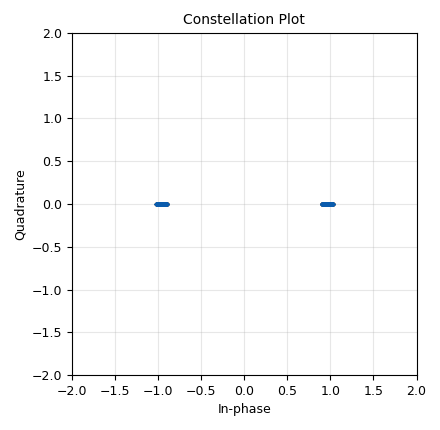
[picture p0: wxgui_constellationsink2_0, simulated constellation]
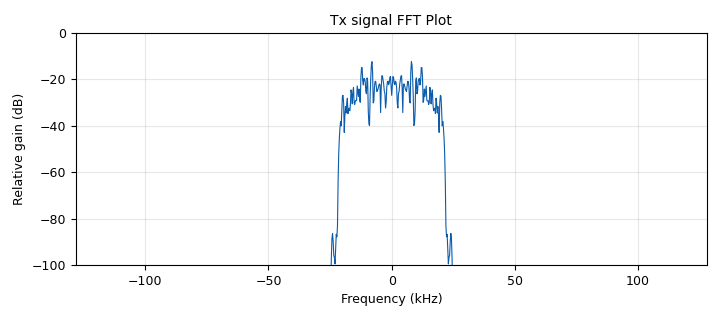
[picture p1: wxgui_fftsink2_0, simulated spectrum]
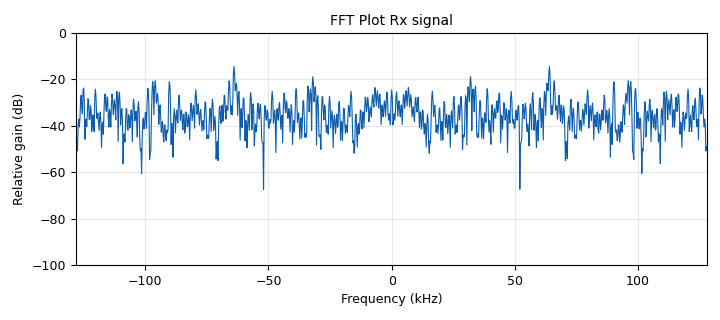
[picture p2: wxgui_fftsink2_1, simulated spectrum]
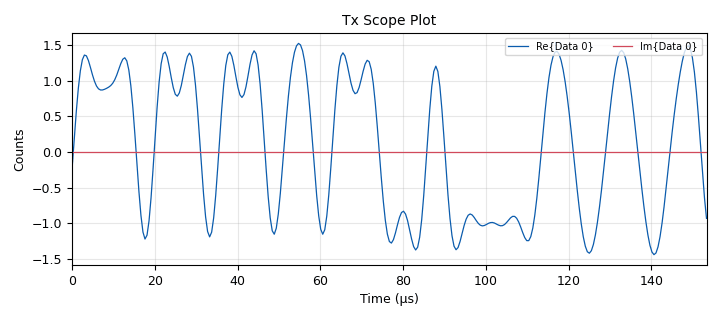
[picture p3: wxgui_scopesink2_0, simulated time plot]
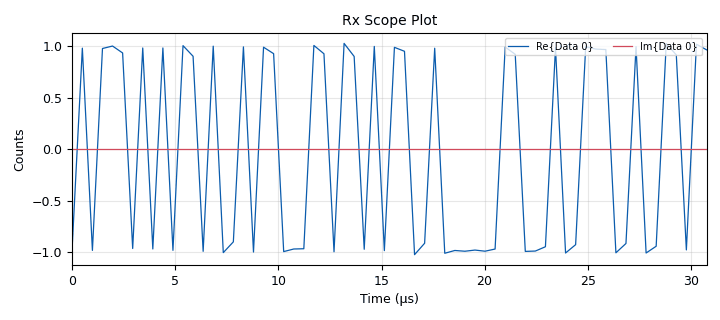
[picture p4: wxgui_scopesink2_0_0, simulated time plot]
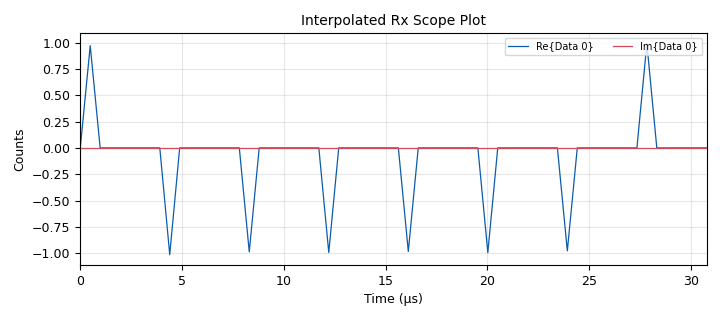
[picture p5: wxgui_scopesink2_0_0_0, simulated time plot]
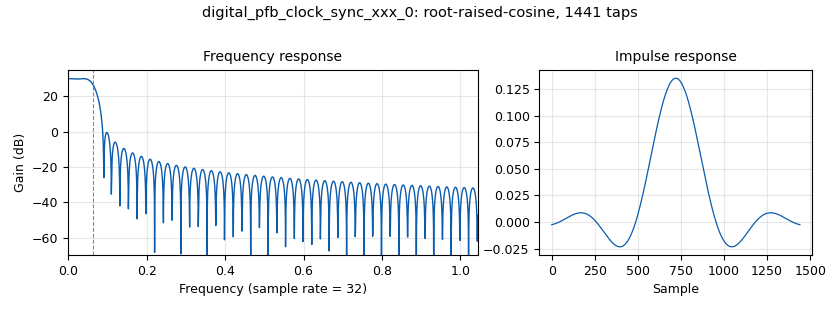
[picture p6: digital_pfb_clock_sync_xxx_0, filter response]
<?xml version='1.0' encoding='utf-8'?>
<?grc format='1' created='3.7.9'?>
<flow_graph>
<block>
<key>options</key>
<param><key>id</key><value>top_block</value></param>
<param><key>category</key><value>Custom</value></param>
<param><key>generate_options</key><value>wx_gui</value></param>
</block>
<block>
<key>variable_slider</key>
<param><key>id</key><value>An</value></param>
<param><key>converver</key><value>float_converter</value></param>
<param><key>value</key><value>0</value></param>
<param><key>label</key><value></value></param>
<param><key>max</key><value>1</value></param>
<param><key>min</key><value>0</value></param>
<param><key>num_steps</key><value>100</value></param>
<param><key>style</key><value>wx.SL_HORIZONTAL</value></param>
</block>
<block>
<key>variable_constellation_rect</key>
<param><key>id</key><value>bpsk_const</value></param>
<param><key>const_points</key><value>[-1,1]</value></param>
<param><key>imag_sect</key><value>2</value></param>
<param><key>real_sect</key><value>2</value></param>
<param><key>rot_sym</key><value>2</value></param>
<param><key>sym_map</key><value>[0, 1]</value></param>
<param><key>w_imag_sect</key><value>1</value></param>
<param><key>w_real_sect</key><value>1</value></param>
</block>
<block>
<key>variable</key>
<param><key>id</key><value>samp_rate</value></param>
<param><key>value</key><value>256000</value></param>
</block>
<block>
<key>variable</key>
<param><key>id</key><value>samples_per_symbol</value></param>
<param><key>value</key><value>8</value></param>
</block>
<block>
<key>analog_noise_source_x</key>
<param><key>id</key><value>analog_noise_source_x_0</value></param>
<param><key>amp</key><value>An</value></param>
<param><key>noise_type</key><value>analog.GR_GAUSSIAN</value></param>
<param><key>type</key><value>complex</value></param>
<param><key>seed</key><value>0</value></param>
</block>
<block>
<key>analog_sig_source_x</key>
<param><key>id</key><value>analog_sig_source_x_0</value></param>
<param><key>amp</key><value>1</value></param>
<param><key>freq</key><value>0</value></param>
<param><key>offset</key><value>0</value></param>
<param><key>type</key><value>complex</value></param>
<param><key>samp_rate</key><value>samp_rate</value></param>
<param><key>waveform</key><value>analog.GR_COS_WAVE</value></param>
</block>
<block>
<key>blocks_add_xx</key>
<param><key>id</key><value>blocks_add_xx_0</value></param>
<param><key>type</key><value>complex</value></param>
</block>
<block>
<key>blocks_delay</key>
<param><key>id</key><value>blocks_delay_0</value></param>
<param><key>delay</key><value>3</value></param>
<param><key>type</key><value>complex</value></param>
</block>
<block>
<key>blocks_delay</key>
<param><key>id</key><value>blocks_delay_0_0</value></param>
<param><key>delay</key><value>7</value></param>
<param><key>type</key><value>byte</value></param>
</block>
<block>
<key>blocks_file_sink</key>
<param><key>id</key><value>blocks_file_sink_0</value></param>
<param><key>file</key><value>/dev/pts/19</value></param>
<param><key>type</key><value>byte</value></param>
</block>
<block>
<key>blocks_multiply_const_vxx</key>
<param><key>id</key><value>blocks_multiply_const_vxx_0</value></param>
<param><key>const</key><value>1</value></param>
<param><key>type</key><value>complex</value></param>
</block>
<block>
<key>blocks_multiply_xx</key>
<param><key>id</key><value>blocks_multiply_xx_0</value></param>
<param><key>type</key><value>complex</value></param>
</block>
<block>
<key>blocks_throttle</key>
<param><key>id</key><value>blocks_throttle_0</value></param>
<param><key>samples_per_second</key><value>samp_rate</value></param>
<param><key>type</key><value>complex</value></param>
</block>
<block>
<key>blocks_unpacked_to_packed_xx</key>
<param><key>id</key><value>blocks_unpacked_to_packed_xx_0</value></param>
<param><key>bits_per_chunk</key><value>1</value></param>
<param><key>endianness</key><value>gr.GR_MSB_FIRST</value></param>
<param><key>type</key><value>byte</value></param>
</block>
<block>
<key>blocks_vector_source_x</key>
<param><key>id</key><value>blocks_vector_source_x_0</value></param>
<param><key>type</key><value>byte</value></param>
<param><key>repeat</key><value>True</value></param>
<param><key>vector</key><value>list(ord(i) for i in 'The quick brown fox 0123456789...')</value></param>
</block>
<block>
<key>digital_constellation_modulator</key>
<param><key>id</key><value>digital_constellation_modulator_0</value></param>
<param><key>constellation</key><value>bpsk_const</value></param>
<param><key>differential</key><value>False</value></param>
<param><key>excess_bw</key><value>0.35</value></param>
<param><key>samples_per_symbol</key><value>samples_per_symbol</value></param>
</block>
<block>
<key>digital_constellation_receiver_cb</key>
<param><key>id</key><value>digital_constellation_receiver_cb_0</value></param>
<param><key>constellation</key><value>bpsk_const</value></param>
<param><key>loop_bw</key><value>0.0625</value></param>
<param><key>fmax</key><value>100</value></param>
<param><key>fmin</key><value>-100</value></param>
<param><key>showports</key><value>True</value></param>
</block>
<block>
<key>digital_pfb_clock_sync_xxx</key>
<param><key>id</key><value>digital_pfb_clock_sync_xxx_0</value></param>
<param><key>filter_size</key><value>32</value></param>
<param><key>init_phase</key><value>16</value></param>
<param><key>loop_bw</key><value>0.06</value></param>
<param><key>max_dev</key><value>1.5</value></param>
<param><key>osps</key><value>1</value></param>
<param><key>sps</key><value>samples_per_symbol</value></param>
<param><key>taps</key><value>firdes.root_raised_cosine(32,32,1.0/float(samples_per_symbol),0.35,45*32)</value></param>
<param><key>type</key><value>ccf</value></param>
</block>
<block>
<key>interp_fir_filter_xxx</key>
<param><key>id</key><value>interp_fir_filter_xxx_0</value></param>
<param><key>interp</key><value>samples_per_symbol</value></param>
<param><key>taps</key><value>1</value></param>
<param><key>type</key><value>ccc</value></param>
</block>
<block>
<key>notebook</key>
<param><key>id</key><value>notebook</value></param>
<param><key>labels</key><value>['Tx signal scope', 'Rx signal scope', 'Interpolated Rx', 'Tx Spectrum', 'Rx Spectrum', 'Rx Constellation']</value></param>
<param><key>style</key><value>wx.NB_TOP</value></param>
</block>
<block>
<key>wxgui_constellationsink2</key>
<param><key>id</key><value>wxgui_constellationsink2_0</value></param>
<param><key>const_size</key><value>2048</value></param>
<param><key>frame_rate</key><value>5</value></param>
<param><key>gain_mu</key><value>0.005</value></param>
<param><key>loop_bw</key><value>6.28/100.0</value></param>
<param><key>M</key><value>2</value></param>
<param><key>fmax</key><value>0.06</value></param>
<param><key>mu</key><value>0.5</value></param>
<param><key>notebook</key><value>notebook, 5</value></param>
<param><key>omega_limit</key><value>0.005</value></param>
<param><key>samp_rate</key><value>samp_rate</value></param>
<param><key>symbol_rate</key><value>samp_rate/4.</value></param>
<param><key>theta</key><value>0</value></param>
<param><key>title</key><value>Constellation Plot</value></param>
</block>
<block>
<key>wxgui_fftsink2</key>
<param><key>id</key><value>wxgui_fftsink2_0</value></param>
<param><key>avg_alpha</key><value>0</value></param>
<param><key>average</key><value>False</value></param>
<param><key>baseband_freq</key><value>0</value></param>
<param><key>fft_size</key><value>1024</value></param>
<param><key>freqvar</key><value>None</value></param>
<param><key>notebook</key><value>notebook, 3</value></param>
<param><key>peak_hold</key><value>False</value></param>
<param><key>ref_level</key><value>0</value></param>
<param><key>ref_scale</key><value>2.0</value></param>
<param><key>fft_rate</key><value>15</value></param>
<param><key>samp_rate</key><value>samp_rate</value></param>
<param><key>title</key><value>Tx signal FFT Plot</value></param>
<param><key>type</key><value>complex</value></param>
<param><key>win</key><value>None</value></param>
<param><key>y_divs</key><value>10</value></param>
<param><key>y_per_div</key><value>10</value></param>
</block>
<block>
<key>wxgui_fftsink2</key>
<param><key>id</key><value>wxgui_fftsink2_1</value></param>
<param><key>avg_alpha</key><value>0</value></param>
<param><key>average</key><value>False</value></param>
<param><key>baseband_freq</key><value>0</value></param>
<param><key>fft_size</key><value>1024</value></param>
<param><key>freqvar</key><value>None</value></param>
<param><key>notebook</key><value>notebook, 4</value></param>
<param><key>peak_hold</key><value>False</value></param>
<param><key>ref_level</key><value>0</value></param>
<param><key>ref_scale</key><value>2.0</value></param>
<param><key>fft_rate</key><value>15</value></param>
<param><key>samp_rate</key><value>samp_rate</value></param>
<param><key>title</key><value>FFT Plot Rx signal</value></param>
<param><key>type</key><value>complex</value></param>
<param><key>win</key><value>None</value></param>
<param><key>y_divs</key><value>10</value></param>
<param><key>y_per_div</key><value>10</value></param>
</block>
<block>
<key>wxgui_scopesink2</key>
<param><key>id</key><value>wxgui_scopesink2_0</value></param>
<param><key>ac_couple</key><value>False</value></param>
<param><key>notebook</key><value>notebook, 0</value></param>
<param><key>num_inputs</key><value>1</value></param>
<param><key>samp_rate</key><value>samp_rate*samples_per_symbol</value></param>
<param><key>t_scale</key><value>0</value></param>
<param><key>title</key><value>Tx Scope Plot</value></param>
<param><key>trig_mode</key><value>wxgui.TRIG_MODE_AUTO</value></param>
<param><key>type</key><value>complex</value></param>
<param><key>v_offset</key><value>0</value></param>
<param><key>v_scale</key><value>0</value></param>
<param><key>xy_mode</key><value>False</value></param>
<param><key>y_axis_label</key><value>Counts</value></param>
</block>
<block>
<key>wxgui_scopesink2</key>
<param><key>id</key><value>wxgui_scopesink2_0_0</value></param>
<param><key>ac_couple</key><value>False</value></param>
<param><key>notebook</key><value>notebook,1</value></param>
<param><key>num_inputs</key><value>1</value></param>
<param><key>samp_rate</key><value>samp_rate*samples_per_symbol</value></param>
<param><key>t_scale</key><value>0</value></param>
<param><key>title</key><value>Rx Scope Plot</value></param>
<param><key>trig_mode</key><value>wxgui.TRIG_MODE_AUTO</value></param>
<param><key>type</key><value>complex</value></param>
<param><key>v_offset</key><value>0</value></param>
<param><key>v_scale</key><value>0</value></param>
<param><key>xy_mode</key><value>False</value></param>
<param><key>y_axis_label</key><value>Counts</value></param>
</block>
<block>
<key>wxgui_scopesink2</key>
<param><key>id</key><value>wxgui_scopesink2_0_0_0</value></param>
<param><key>ac_couple</key><value>False</value></param>
<param><key>notebook</key><value>notebook,2</value></param>
<param><key>num_inputs</key><value>1</value></param>
<param><key>samp_rate</key><value>samp_rate*samples_per_symbol</value></param>
<param><key>t_scale</key><value>0</value></param>
<param><key>title</key><value>Interpolated Rx Scope Plot</value></param>
<param><key>trig_mode</key><value>wxgui.TRIG_MODE_AUTO</value></param>
<param><key>type</key><value>complex</value></param>
<param><key>v_offset</key><value>0</value></param>
<param><key>v_scale</key><value>0</value></param>
<param><key>xy_mode</key><value>False</value></param>
<param><key>y_axis_label</key><value>Counts</value></param>
</block>
<connection><source_block_id>analog_noise_source_x_0</source_block_id><sink_block_id>blocks_add_xx_0</sink_block_id><source_key>0</source_key><sink_key>0</sink_key></connection>
<connection><source_block_id>analog_sig_source_x_0</source_block_id><sink_block_id>blocks_multiply_xx_0</sink_block_id><source_key>0</source_key><sink_key>1</sink_key></connection>
<connection><source_block_id>blocks_add_xx_0</source_block_id><sink_block_id>blocks_multiply_xx_0</sink_block_id><source_key>0</source_key><sink_key>0</sink_key></connection>
<connection><source_block_id>blocks_delay_0</source_block_id><sink_block_id>interp_fir_filter_xxx_0</sink_block_id><source_key>0</source_key><sink_key>0</sink_key></connection>
<connection><source_block_id>blocks_delay_0_0</source_block_id><sink_block_id>blocks_unpacked_to_packed_xx_0</sink_block_id><source_key>0</source_key><sink_key>0</sink_key></connection>
<connection><source_block_id>blocks_multiply_const_vxx_0</source_block_id><sink_block_id>digital_pfb_clock_sync_xxx_0</sink_block_id><source_key>0</source_key><sink_key>0</sink_key></connection>
<connection><source_block_id>blocks_multiply_xx_0</source_block_id><sink_block_id>blocks_multiply_const_vxx_0</sink_block_id><source_key>0</source_key><sink_key>0</sink_key></connection>
<connection><source_block_id>blocks_throttle_0</source_block_id><sink_block_id>blocks_add_xx_0</sink_block_id><source_key>0</source_key><sink_key>1</sink_key></connection>
<connection><source_block_id>blocks_throttle_0</source_block_id><sink_block_id>wxgui_fftsink2_0</sink_block_id><source_key>0</source_key><sink_key>0</sink_key></connection>
<connection><source_block_id>blocks_throttle_0</source_block_id><sink_block_id>wxgui_scopesink2_0</sink_block_id><source_key>0</source_key><sink_key>0</sink_key></connection>
<connection><source_block_id>blocks_unpacked_to_packed_xx_0</source_block_id><sink_block_id>blocks_file_sink_0</sink_block_id><source_key>0</source_key><sink_key>0</sink_key></connection>
<connection><source_block_id>blocks_vector_source_x_0</source_block_id><sink_block_id>digital_constellation_modulator_0</sink_block_id><source_key>0</source_key><sink_key>0</sink_key></connection>
<connection><source_block_id>digital_constellation_modulator_0</source_block_id><sink_block_id>blocks_throttle_0</sink_block_id><source_key>0</source_key><sink_key>0</sink_key></connection>
<connection><source_block_id>digital_constellation_receiver_cb_0</source_block_id><sink_block_id>blocks_delay_0_0</sink_block_id><source_key>0</source_key><sink_key>0</sink_key></connection>
<connection><source_block_id>digital_pfb_clock_sync_xxx_0</source_block_id><sink_block_id>blocks_delay_0</sink_block_id><source_key>0</source_key><sink_key>0</sink_key></connection>
<connection><source_block_id>digital_pfb_clock_sync_xxx_0</source_block_id><sink_block_id>digital_constellation_receiver_cb_0</sink_block_id><source_key>0</source_key><sink_key>0</sink_key></connection>
<connection><source_block_id>digital_pfb_clock_sync_xxx_0</source_block_id><sink_block_id>wxgui_constellationsink2_0</sink_block_id><source_key>0</source_key><sink_key>0</sink_key></connection>
<connection><source_block_id>digital_pfb_clock_sync_xxx_0</source_block_id><sink_block_id>wxgui_fftsink2_1</sink_block_id><source_key>0</source_key><sink_key>0</sink_key></connection>
<connection><source_block_id>digital_pfb_clock_sync_xxx_0</source_block_id><sink_block_id>wxgui_scopesink2_0_0</sink_block_id><source_key>0</source_key><sink_key>0</sink_key></connection>
<connection><source_block_id>interp_fir_filter_xxx_0</source_block_id><sink_block_id>wxgui_scopesink2_0_0_0</sink_block_id><source_key>0</source_key><sink_key>0</sink_key></connection>
</flow_graph>
